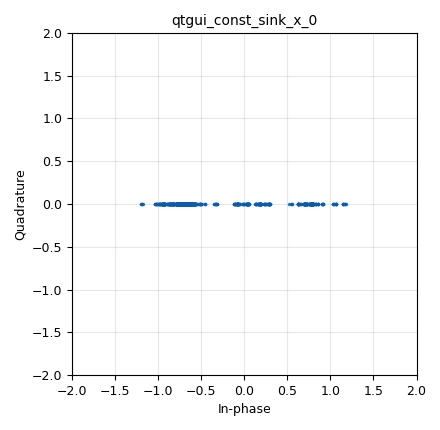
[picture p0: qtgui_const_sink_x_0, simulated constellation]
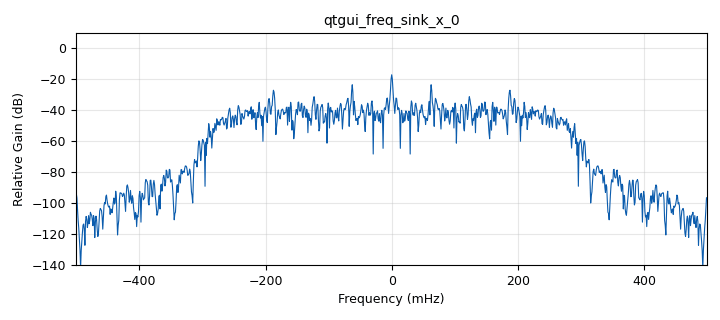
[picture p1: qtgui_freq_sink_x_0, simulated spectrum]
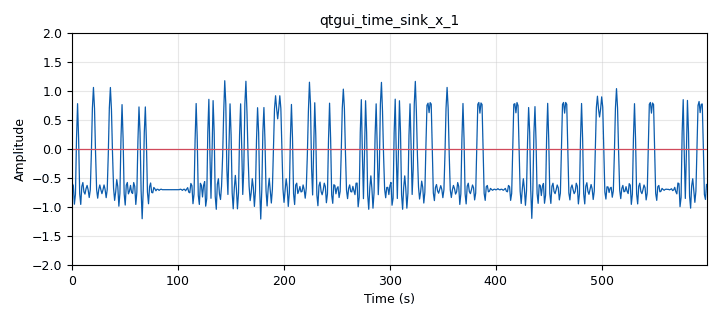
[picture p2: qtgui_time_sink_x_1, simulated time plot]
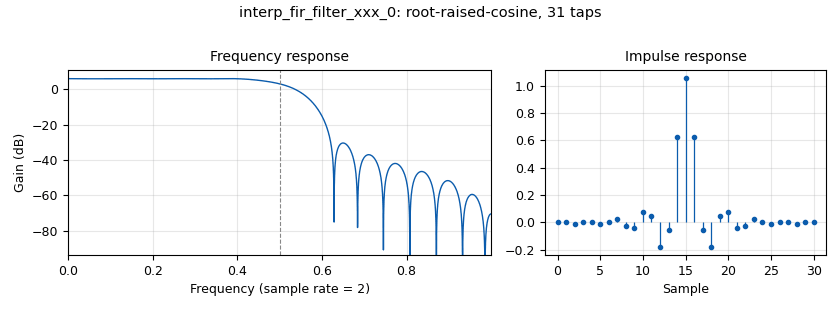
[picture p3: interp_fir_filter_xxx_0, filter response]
options:
  parameters:
    category: Custom
    generate_options: qt_gui
    id: simple_bpsk_tx
    output_language: python
  states: {}

blocks:
- name: amp
  id: variable_qtgui_range
  parameters:
    gui_hint: 1,1,1,1
    label: Amplitude
    start: '0'
    step: '0.005'
    stop: '0.9'
    value: '0.7'
  states: {}
- name: eb
  id: variable
  parameters:
    value: '0.22'
  states: {}
- name: freq
  id: variable_qtgui_range
  parameters:
    gui_hint: 0,1,1,1
    label: Frequency
    start: 50e6
    step: 500e3
    stop: 3e9
    value: 483e6-300
  states: {}
- name: gain
  id: variable_qtgui_range
  parameters:
    gui_hint: 1,0,1,1
    label: Gain
    start: '0'
    step: '1'
    stop: '83'
    value: '56'
  states: {}
- name: pkt_len
  id: variable
  parameters:
    value: '1000'
  states: {}
- name: rx_rrc_taps
  id: variable_rrc_filter_taps
  parameters:
    alpha: eb
    gain: '1'
    ntaps: 15*sps
    samp_rate: sps
    sym_rate: '1.0'
  states: {}
- name: samp_rate
  id: variable_qtgui_range
  parameters:
    gui_hint: 0,0,1,1
    label: Sample Rate
    start: 200e3
    step: 200e3
    stop: 10e6
    value: 200e3
  states: {}
- name: sps
  id: variable
  parameters:
    value: '2'
  states: {}
- name: tx_rrc_taps
  id: variable_rrc_filter_taps
  parameters:
    alpha: eb
    gain: sps
    ntaps: 15*sps
    samp_rate: sps
    sym_rate: '1.0'
  states: {}
- name: blocks_message_debug_0
  id: blocks_message_debug
  parameters: {}
  states: {}
- name: blocks_message_strobe_0
  id: blocks_message_strobe
  parameters:
    msg: pmt.intern("TEST")
    period: '500'
  states: {}
- name: blocks_multiply_const_vxx_0
  id: blocks_multiply_const_vxx
  parameters:
    const: amp
    type: complex
  states: {}
- name: blocks_tag_debug_0
  id: blocks_tag_debug
  parameters:
    filter: packet_len
    type: complex
  states: {state: disabled}
- name: blocks_tag_debug_0_0
  id: blocks_tag_debug
  parameters:
    filter: packet_len
    type: complex
  states: {state: disabled}
- name: blocks_tag_debug_0_1
  id: blocks_tag_debug
  parameters:
    filter: packet_len
    type: complex
  states: {state: disabled}
- name: blocks_tagged_stream_multiply_length_0
  id: blocks_tagged_stream_multiply_length
  parameters:
    c: sps*8
    lengthtagname: packet_len
    type: complex
  states: {}
- name: blocks_unpack_k_bits_bb_0
  id: blocks_unpack_k_bits_bb
  parameters:
    k: '8'
  states: {}
- name: digital_chunks_to_symbols_xx_0
  id: digital_chunks_to_symbols_xx
  parameters:
    dimension: '1'
    in_type: byte
    out_type: complex
    symbol_table: '[-1,1]'
  states: {}
- name: fir_filter_xxx_0
  id: fir_filter_xxx
  parameters:
    decim: '1'
    samp_delay: 1 + (len(rx_rrc_taps)-1)/2
    taps: rx_rrc_taps
    type: ccc
  states: {state: bypassed}
- name: interp_fir_filter_xxx_0
  id: interp_fir_filter_xxx
  parameters:
    interp: sps
    samp_delay: (len(tx_rrc_taps)-1)//(2*sps)
    taps: tx_rrc_taps
    type: ccc
  states: {}
- name: pdu_pdu_to_tagged_stream_0
  id: pdu_pdu_to_tagged_stream
  parameters:
    tag: packet_len
    type: byte
  states: {}
- name: pdu_random_pdu_0
  id: pdu_random_pdu
  parameters:
    length_modulo: '1'
    mask: '0x0F'
    maxsize: '6'
    minsize: '6'
  states: {}
- name: qtgui_const_sink_x_0
  id: qtgui_const_sink_x
  parameters:
    gui_hint: tab0@2
    legend: 'False'
    size: '1024'
    tr_tag: packet_len
    type: complex
  states: {}
- name: qtgui_edit_box_msg_0
  id: qtgui_edit_box_msg
  parameters:
    is_pair: 'False'
    is_static: 'False'
    type: string
    value: hello
  states: {}
- name: qtgui_freq_sink_x_0
  id: qtgui_freq_sink_x
  parameters:
    bw: '1'
    fc: '0'
    fftsize: '1024'
    gui_hint: tab0@1
    legend: 'False'
    showports: 'True'
    type: complex
  states: {}
- name: qtgui_time_sink_x_1
  id: qtgui_time_sink_x
  parameters:
    gui_hint: tab0@0
    label1: ''
    label2: ''
    legend: 'False'
    size: '600'
    srate: '1'
    tr_tag: packet_len
    type: complex
    ymax: '2'
    ymin: '-2'
  states: {}
- name: tab0
  id: qtgui_tab_widget
  parameters:
    gui_hint: 2,0,1,2
    label0: Time
    label1: Freq.
    label2: Const.
    num_tabs: '3'
  states: {}
- name: uhd_usrp_sink_0
  id: uhd_usrp_sink
  parameters:
    ant0: TX/RX
    center_freq0: uhd.tune_request(freq, samp_rate/2.0)
    clock_rate: '0.0'
    dev_addr: ''
    gain0: gain
    len_tag_name: packet_len
    samp_rate: samp_rate
    stream_chans: '[0]'
    sync: sync
    type: fc32
  states: {}

connections:
- [blocks_message_strobe_0, strobe, pdu_random_pdu_0, generate]
- [blocks_multiply_const_vxx_0, '0', blocks_tag_debug_0, '0']
- [blocks_multiply_const_vxx_0, '0', qtgui_const_sink_x_0, '0']
- [blocks_multiply_const_vxx_0, '0', qtgui_freq_sink_x_0, '0']
- [blocks_multiply_const_vxx_0, '0', qtgui_time_sink_x_1, '0']
- [blocks_multiply_const_vxx_0, '0', uhd_usrp_sink_0, '0']
- [blocks_tagged_stream_multiply_length_0, '0', fir_filter_xxx_0, '0']
- [blocks_unpack_k_bits_bb_0, '0', digital_chunks_to_symbols_xx_0, '0']
- [digital_chunks_to_symbols_xx_0, '0', interp_fir_filter_xxx_0, '0']
- [fir_filter_xxx_0, '0', blocks_multiply_const_vxx_0, '0']
- [interp_fir_filter_xxx_0, '0', blocks_tagged_stream_multiply_length_0, '0']
- [pdu_pdu_to_tagged_stream_0, '0', blocks_unpack_k_bits_bb_0, '0']
- [pdu_random_pdu_0, pdus, blocks_message_debug_0, print_pdu]
- [pdu_random_pdu_0, pdus, pdu_pdu_to_tagged_stream_0, pdus]
- [qtgui_edit_box_msg_0, msg, blocks_message_strobe_0, set_msg]

metadata:
  file_format: 1
  grc_version: 3.10.5.1
